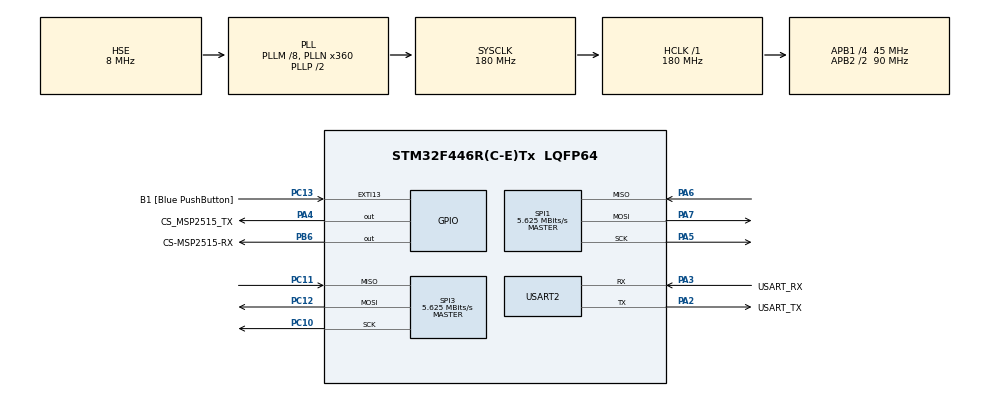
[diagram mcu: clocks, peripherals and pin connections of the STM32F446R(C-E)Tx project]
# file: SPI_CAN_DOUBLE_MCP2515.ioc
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Mcu.Family=STM32F4
Mcu.Name=STM32F446R(C-E)Tx
Mcu.Package=LQFP64
NVIC.PriorityGroup=NVIC_PRIORITYGROUP_0
PA13.GPIO_Label=TMS
PA13.Mode=Serial_Wire
PA13.Signal=SYS_JTMS-SWDIO
PA14.GPIO_Label=TCK
PA14.Mode=Serial_Wire
PA14.Signal=SYS_JTCK-SWCLK
PA2.GPIO_Label=USART_TX
PA2.Mode=Asynchronous
PA2.Signal=USART2_TX
PA3.GPIO_Label=USART_RX
PA3.Mode=Asynchronous
PA3.Signal=USART2_RX
PA4.GPIO_Label=CS_MSP2515_TX
PA4.PinState=GPIO_PIN_SET
PA4.Signal=GPIO_Output
PA5.Mode=Full_Duplex_Master
PA5.Signal=SPI1_SCK
PA6.Mode=Full_Duplex_Master
PA6.Signal=SPI1_MISO
PA7.Mode=Full_Duplex_Master
PA7.Signal=SPI1_MOSI
PB6.GPIO_Label=CS-MSP2515-RX
PB6.PinState=GPIO_PIN_SET
PB6.Signal=GPIO_Output
PC10.Mode=Full_Duplex_Master
PC10.Signal=SPI3_SCK
PC11.Mode=Full_Duplex_Master
PC11.Signal=SPI3_MISO
PC12.Mode=Full_Duplex_Master
PC12.Signal=SPI3_MOSI
PC13.GPIO_Label=B1 [Blue PushButton]
PC13.GPIO_ModeDefaultEXTI=GPIO_MODE_IT_FALLING
PC13.Signal=GPXTI13
PC14-OSC32_IN.Mode=LSE-External-Oscillator
PC14-OSC32_IN.Signal=RCC_OSC32_IN
PC15-OSC32_OUT.Mode=LSE-External-Oscillator
PC15-OSC32_OUT.Signal=RCC_OSC32_OUT
PH0-OSC_IN.Mode=HSE-External-Oscillator
PH0-OSC_IN.Signal=RCC_OSC_IN
PH1-OSC_OUT.Mode=HSE-External-Oscillator
PH1-OSC_OUT.Signal=RCC_OSC_OUT
ProjectManager.HeapSize=0x200
ProjectManager.StackSize=0x400
ProjectManager.TargetToolchain=STM32CubeIDE
RCC.48MHZClocksFreq_Value=84000000
RCC.AHBFreq_Value=180000000
RCC.APB1CLKDivider=RCC_HCLK_DIV4
RCC.APB1Freq_Value=45000000
RCC.APB1TimFreq_Value=90000000
RCC.APB2CLKDivider=RCC_HCLK_DIV2
RCC.APB2Freq_Value=90000000
RCC.APB2TimFreq_Value=180000000
RCC.CortexFreq_Value=180000000
RCC.FLatency-AdvancedSettings=FLASH_LATENCY_5
RCC.HCLKFreq_Value=180000000
RCC.HSE_VALUE=8000000
RCC.HSI_VALUE=16000000
RCC.PLLM=8
RCC.PLLN=360
RCC.PLLSourceVirtual=RCC_PLLSOURCE_HSE
RCC.SYSCLKFreq_VALUE=180000000
RCC.SYSCLKSource=RCC_SYSCLKSOURCE_PLLCLK
RCC.USBFreq_Value=180000000
RCC.VCOOutputFreq_Value=360000000
SPI1.BaudRatePrescaler=SPI_BAUDRATEPRESCALER_16
SPI1.CalculateBaudRate=5.625 MBits/s
SPI1.Direction=SPI_DIRECTION_2LINES
SPI1.Mode=SPI_MODE_MASTER
SPI1.VirtualType=VM_MASTER
SPI3.BaudRatePrescaler=SPI_BAUDRATEPRESCALER_8
SPI3.CalculateBaudRate=5.625 MBits/s
SPI3.Direction=SPI_DIRECTION_2LINES
SPI3.Mode=SPI_MODE_MASTER
SPI3.VirtualType=VM_MASTER
USART2.VirtualMode=VM_ASYNC
board=NUCLEO-F446RE

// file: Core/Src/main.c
/* USER CODE BEGIN Header */
/**
  ******************************************************************************
  * @file           : main.c
  * @brief          : Main program body
  ******************************************************************************
  * @attention
  *
  * Copyright (c) 2025 STMicroelectronics.
  * All rights reserved.
  *
  * This software is licensed under terms that can be found in the LICENSE file
  * in the root directory of this software component.
  * If no LICENSE file comes with this software, it is provided AS-IS.
  *
  ******************************************************************************
  */
/* USER CODE END Header */

#include "main.h"
#include <stdio.h>
#include <string.h>

/* USER CODE BEGIN PTD */
// CAN Message Structure
typedef struct {
    uint32_t id;        // Standard ID (11-bit)
    uint8_t dlc;        // Data Length Code (0-8)
    uint8_t data[8];    // Data bytes
} CAN_Message;

// MCP2515 Handle Structure
typedef struct {
    SPI_HandleTypeDef *hspi;    // SPI handle
    GPIO_TypeDef *cs_port;      // CS GPIO Port
    uint16_t cs_pin;            // CS GPIO Pin
} MCP2515_Handle;
/* USER CODE END PTD */

/* USER CODE BEGIN PD */
// MCP2515 SPI Commands
#define MCP2515_RESET       0xC0
#define MCP2515_READ        0x03
#define MCP2515_WRITE       0x02
#define MCP2515_RTS_TX0     0x81
#define MCP2515_READ_STATUS 0xA0
#define MCP2515_RX_STATUS   0xB0
#define MCP2515_BIT_MODIFY  0x05

// MCP2515 Registers
#define MCP2515_RXF0SIDH    0x00
#define MCP2515_RXF0SIDL    0x01
#define MCP2515_BFPCTRL     0x0C
#define MCP2515_TXRTSCTRL   0x0D
#define MCP2515_CANSTAT     0x0E
#define MCP2515_CANCTRL     0x0F
#define MCP2515_CNF3        0x28
#define MCP2515_CNF2        0x29
#define MCP2515_CNF1        0x2A
#define MCP2515_CANINTE     0x2B
#define MCP2515_CANINTF     0x2C
#define MCP2515_TXB0CTRL    0x30
#define MCP2515_TXB0SIDH    0x31
#define MCP2515_TXB0SIDL    0x32
#define MCP2515_TXB0DLC     0x35
#define MCP2515_TXB0D0      0x36
#define MCP2515_RXB0CTRL    0x60
#define MCP2515_RXB0SIDH    0x61
#define MCP2515_RXB0SIDL    0x62
#define MCP2515_RXB0DLC     0x65
#define MCP2515_RXB0D0      0x66

// MCP2515 Configuration
#define MCP2515_MODE_NORMAL     0x00
#define MCP2515_MODE_CONFIG     0x80
#define MCP2515_INT_RX0IF       0x01
#define MCP2515_INT_TX0IF       0x04
/* USER CODE END PD */

SPI_HandleTypeDef hspi1;
SPI_HandleTypeDef hspi3;
UART_HandleTypeDef huart2;

/* USER CODE BEGIN PV */
// MCP2515 Handles
MCP2515_Handle hcan_tx = {
    .hspi = &hspi3,
    .cs_port = GPIOA,
    .cs_pin = CS_MSP2515_TX_Pin // Note: Typo in IOC (MSP vs MCP)
};

MCP2515_Handle hcan_rx = {
    .hspi = &hspi1,
    .cs_port = GPIOB,
    .cs_pin = CS_MSP2515_RX_Pin
};
/* USER CODE END PV */

void SystemClock_Config(void);
static void MX_GPIO_Init(void);
static void MX_USART2_UART_Init(void);
static void MX_SPI1_Init(void);
static void MX_SPI3_Init(void);
/* USER CODE BEGIN PFP */
void MCP2515_Select(MCP2515_Handle *hcan);
void MCP2515_Deselect(MCP2515_Handle *hcan);
void MCP2515_WriteReg(MCP2515_Handle *hcan, uint8_t reg, uint8_t value);
uint8_t MCP2515_ReadReg(MCP2515_Handle *hcan, uint8_t reg);
void MCP2515_Reset(MCP2515_Handle *hcan);
void MCP2515_SetMode(MCP2515_Handle *hcan, uint8_t mode);
void MCP2515_Init(MCP2515_Handle *hcan, uint32_t bitrate);
void MCP2515_Transmit(MCP2515_Handle *hcan, CAN_Message *msg);
uint8_t MCP2515_Receive(MCP2515_Handle *hcan, CAN_Message *msg);
void UART_Print(const char *str);
/* USER CODE END PFP */

/* USER CODE BEGIN 0 */
/* MCP2515 Driver Functions */
void MCP2515_Select(MCP2515_Handle *hcan) {
    HAL_GPIO_WritePin(hcan->cs_port, hcan->cs_pin, GPIO_PIN_RESET);
}

void MCP2515_Deselect(MCP2515_Handle *hcan) {
    HAL_GPIO_WritePin(hcan->cs_port, hcan->cs_pin, GPIO_PIN_SET);
}

void MCP2515_WriteReg(MCP2515_Handle *hcan, uint8_t reg, uint8_t value) {
    uint8_t tx_buf[3] = {MCP2515_WRITE, reg, value};
    MCP2515_Select(hcan);
    HAL_SPI_Transmit(hcan->hspi, tx_buf, 3, HAL_MAX_DELAY);
    MCP2515_Deselect(hcan);
}

uint8_t MCP2515_ReadReg(MCP2515_Handle *hcan, uint8_t reg) {
    uint8_t tx_buf[2] = {MCP2515_READ, reg};
    uint8_t rx_buf = 0;
    MCP2515_Select(hcan);
    HAL_SPI_Transmit(hcan->hspi, tx_buf, 2, HAL_MAX_DELAY);
    HAL_SPI_Receive(hcan->hspi, &rx_buf, 1, HAL_MAX_DELAY);
    MCP2515_Deselect(hcan);
    return rx_buf;
}

void MCP2515_Reset(MCP2515_Handle *hcan) {
    uint8_t tx_buf = MCP2515_RESET;
    MCP2515_Select(hcan);
    HAL_SPI_Transmit(hcan->hspi, &tx_buf, 1, HAL_MAX_DELAY);
    MCP2515_Deselect(hcan);
    HAL_Delay(10);
}

void MCP2515_SetMode(MCP2515_Handle *hcan, uint8_t mode) {
    MCP2515_WriteReg(hcan, MCP2515_CANCTRL, mode);
    HAL_Delay(1);
    while ((MCP2515_ReadReg(hcan, MCP2515_CANSTAT) & 0xE0) != mode) {
        HAL_Delay(1);
    }
}

void MCP2515_Init(MCP2515_Handle *hcan, uint32_t bitrate) {
    MCP2515_Reset(hcan);
    MCP2515_SetMode(hcan, MCP2515_MODE_CONFIG);
    // 500 kbps @ 16 MHz MCP2515 clock
    if (bitrate == 500000) {
        MCP2515_WriteReg(hcan, MCP2515_CNF1, 0x01); // SJW=1, BRP=1
        MCP2515_WriteReg(hcan, MCP2515_CNF2, 0xB1); // BTLMODE=1, PHSEG1=6, PRSEG=1
        MCP2515_WriteReg(hcan, MCP2515_CNF3, 0x05); // PHSEG2=6
    }
    MCP2515_WriteReg(hcan, MCP2515_RXB0CTRL, 0x60); // Receive all
    MCP2515_WriteReg(hcan, MCP2515_RXB0SIDH, 0x00); // Filter ID 0
    MCP2515_WriteReg(hcan, MCP2515_RXB0SIDL, 0x00);
    MCP2515_WriteReg(hcan, MCP2515_CANINTE, 0x00); // No interrupts
    MCP2515_SetMode(hcan, MCP2515_MODE_NORMAL);
}

void MCP2515_Transmit(MCP2515_Handle *hcan, CAN_Message *msg) {
    MCP2515_WriteReg(hcan, MCP2515_TXB0SIDH, (msg->id >> 3));
    MCP2515_WriteReg(hcan, MCP2515_TXB0SIDL, ((msg->id & 0x07) << 5));
    MCP2515_WriteReg(hcan, MCP2515_TXB0DLC, msg->dlc & 0x0F);
    for (uint8_t i = 0; i < msg->dlc; i++) {
        MCP2515_WriteReg(hcan, MCP2515_TXB0D0 + i, msg->data[i]);
    }
    MCP2515_WriteReg(hcan, MCP2515_TXB0CTRL, 0x08); // Set TXREQ
}

uint8_t MCP2515_Receive(MCP2515_Handle *hcan, CAN_Message *msg) {
    uint8_t status = MCP2515_ReadReg(hcan, MCP2515_CANINTF);
    if (!(status & MCP2515_INT_RX0IF)) {
        return 0; // No message
    }
    msg->id = (MCP2515_ReadReg(hcan, MCP2515_RXB0SIDH) << 3) |
              (MCP2515_ReadReg(hcan, MCP2515_RXB0SIDL) >> 5);
    msg->dlc = MCP2515_ReadReg(hcan, MCP2515_RXB0DLC) & 0x0F;
    for (uint8_t i = 0; i < msg->dlc; i++) {
        msg->data[i] = MCP2515_ReadReg(hcan, MCP2515_RXB0D0 + i);
    }
    MCP2515_WriteReg(hcan, MCP2515_CANINTF, status & ~MCP2515_INT_RX0IF);
    return 1; // Message received
}

void UART_Print(const char *str) {
    HAL_UART_Transmit(&huart2, (uint8_t *)str, strlen(str), HAL_MAX_DELAY);
}
/* USER CODE END 0 */

int main(void)
{

  /* MCU Configuration--------------------------------------------------------*/
  HAL_Init();
  SystemClock_Config();
  MX_GPIO_Init();
  MX_USART2_UART_Init();
  MX_SPI1_Init();
  MX_SPI3_Init();
  /* USER CODE BEGIN 2 */
  // Initialize MCP2515 modules
  UART_Print("Initializing MCP2515 Transmitter (SPI3)...\r\n");
  MCP2515_Init(&hcan_tx, 500000);
  UART_Print("Initializing MCP2515 Receiver (SPI1)...\r\n");
  MCP2515_Init(&hcan_rx, 500000);

  // Test message
  CAN_Message tx_msg = {
      .id = 0x123,
      .dlc = 4,
      .data = {0xAA, 0xBB, 0xCC, 0xDD}
  };
  /* USER CODE END 2 */

  /* Infinite loop */
  /* USER CODE BEGIN WHILE */
  char buf[64];
  while (1)
  {
    UART_Print("Sending CAN message...\r\n");
    MCP2515_Transmit(&hcan_tx, &tx_msg);
    HAL_Delay(1000);

    CAN_Message rx_msg = {0};
    if (MCP2515_Receive(&hcan_rx, &rx_msg)) {
        sprintf(buf, "Received CAN ID: 0x%03X, DLC: %d, Data: \r\n", rx_msg.id, rx_msg.dlc);
        UART_Print(buf);
        for (uint8_t i = 0; i < rx_msg.dlc; i++) {
            sprintf(buf, "%02X ", rx_msg.data[i]);
            UART_Print(buf);
        }
        UART_Print("\r\n");
    }
    /* USER CODE END WHILE */
  }
}

void SystemClock_Config(void)
{
  RCC_OscInitTypeDef RCC_OscInitStruct = {0};
  RCC_ClkInitTypeDef RCC_ClkInitStruct = {0};

  /** Configure the main internal regulator output voltage
  */
  __HAL_RCC_PWR_CLK_ENABLE();
  __HAL_PWR_VOLTAGESCALING_CONFIG(PWR_REGULATOR_VOLTAGE_SCALE1);

  /** Initializes the RCC Oscillators according to the specified parameters
  * in the RCC_OscInitTypeDef structure.
  */
  RCC_OscInitStruct.OscillatorType = RCC_OSCILLATORTYPE_HSE;
  RCC_OscInitStruct.HSEState = RCC_HSE_ON;
  RCC_OscInitStruct.PLL.PLLState = RCC_PLL_ON;
  RCC_OscInitStruct.PLL.PLLSource = RCC_PLLSOURCE_HSE;
  RCC_OscInitStruct.PLL.PLLM = 8;
  RCC_OscInitStruct.PLL.PLLN = 360;
  RCC_OscInitStruct.PLL.PLLP = RCC_PLLP_DIV2;
  RCC_OscInitStruct.PLL.PLLQ = 2;
  RCC_OscInitStruct.PLL.PLLR = 2;
  if (HAL_RCC_OscConfig(&RCC_OscInitStruct) != HAL_OK)
  {
    Error_Handler();
  }

  /** Activate the Over-Drive mode
  */
  if (HAL_PWREx_EnableOverDrive() != HAL_OK)
  {
    Error_Handler();
  }

  /** Initializes the CPU, AHB and APB buses clocks
  */
  RCC_ClkInitStruct.ClockType = RCC_CLOCKTYPE_HCLK|RCC_CLOCKTYPE_SYSCLK
                              |RCC_CLOCKTYPE_PCLK1|RCC_CLOCKTYPE_PCLK2;
  RCC_ClkInitStruct.SYSCLKSource = RCC_SYSCLKSOURCE_PLLCLK;
  RCC_ClkInitStruct.AHBCLKDivider = RCC_SYSCLK_DIV1;
  RCC_ClkInitStruct.APB1CLKDivider = RCC_HCLK_DIV4;
  RCC_ClkInitStruct.APB2CLKDivider = RCC_HCLK_DIV2;

  if (HAL_RCC_ClockConfig(&RCC_ClkInitStruct, FLASH_LATENCY_5) != HAL_OK)
  {
    Error_Handler();
  }
}

static void MX_SPI1_Init(void)
{
  hspi1.Instance = SPI1;
  hspi1.Init.Mode = SPI_MODE_MASTER;
  hspi1.Init.Direction = SPI_DIRECTION_2LINES;
  hspi1.Init.DataSize = SPI_DATASIZE_8BIT;
  hspi1.Init.CLKPolarity = SPI_POLARITY_LOW;
  hspi1.Init.CLKPhase = SPI_PHASE_1EDGE;
  hspi1.Init.NSS = SPI_NSS_SOFT;
  hspi1.Init.BaudRatePrescaler = SPI_BAUDRATEPRESCALER_16;
  hspi1.Init.FirstBit = SPI_FIRSTBIT_MSB;
  hspi1.Init.TIMode = SPI_TIMODE_DISABLE;
  hspi1.Init.CRCCalculation = SPI_CRCCALCULATION_DISABLE;
  hspi1.Init.CRCPolynomial = 10;
  if (HAL_SPI_Init(&hspi1) != HAL_OK)
  {
    Error_Handler();
  }
}

static void MX_SPI3_Init(void)
{
  hspi3.Instance = SPI3;
  hspi3.Init.Mode = SPI_MODE_MASTER;
  hspi3.Init.Direction = SPI_DIRECTION_2LINES;
  hspi3.Init.DataSize = SPI_DATASIZE_8BIT;
  hspi3.Init.CLKPolarity = SPI_POLARITY_LOW;
  hspi3.Init.CLKPhase = SPI_PHASE_1EDGE;
  hspi3.Init.NSS = SPI_NSS_SOFT;
  hspi3.Init.BaudRatePrescaler = SPI_BAUDRATEPRESCALER_8;
  hspi3.Init.FirstBit = SPI_FIRSTBIT_MSB;
  hspi3.Init.TIMode = SPI_TIMODE_DISABLE;
  hspi3.Init.CRCCalculation = SPI_CRCCALCULATION_DISABLE;
  hspi3.Init.CRCPolynomial = 10;
  if (HAL_SPI_Init(&hspi3) != HAL_OK)
  {
    Error_Handler();
  }
}

static void MX_USART2_UART_Init(void)
{
  huart2.Instance = USART2;
  huart2.Init.BaudRate = 115200;
  huart2.Init.WordLength = UART_WORDLENGTH_8B;
  huart2.Init.StopBits = UART_STOPBITS_1;
  huart2.Init.Parity = UART_PARITY_NONE;
  huart2.Init.Mode = UART_MODE_TX_RX;
  huart2.Init.HwFlowCtl = UART_HWCONTROL_NONE;
  huart2.Init.OverSampling = UART_OVERSAMPLING_16;
  if (HAL_UART_Init(&huart2) != HAL_OK)
  {
    Error_Handler();
  }
}

static void MX_GPIO_Init(void)
{
  GPIO_InitTypeDef GPIO_InitStruct = {0};
  __HAL_RCC_GPIOC_CLK_ENABLE();
  __HAL_RCC_GPIOH_CLK_ENABLE();
  __HAL_RCC_GPIOA_CLK_ENABLE();
  __HAL_RCC_GPIOB_CLK_ENABLE();
  HAL_GPIO_WritePin(CS_MSP2515_TX_GPIO_Port, CS_MSP2515_TX_Pin, GPIO_PIN_SET);
  HAL_GPIO_WritePin(CS_MSP2515_RX_GPIO_Port, CS_MSP2515_RX_Pin, GPIO_PIN_SET);
  GPIO_InitStruct.Pin = B1_Pin;
  GPIO_InitStruct.Mode = GPIO_MODE_IT_FALLING;
  GPIO_InitStruct.Pull = GPIO_NOPULL;
  HAL_GPIO_Init(B1_GPIO_Port, &GPIO_InitStruct);
  GPIO_InitStruct.Pin = CS_MSP2515_TX_Pin;
  GPIO_InitStruct.Mode = GPIO_MODE_OUTPUT_PP;
  GPIO_InitStruct.Pull = GPIO_NOPULL;
  GPIO_InitStruct.Speed = GPIO_SPEED_FREQ_LOW;
  HAL_GPIO_Init(CS_MSP2515_TX_GPIO_Port, &GPIO_InitStruct);
  GPIO_InitStruct.Pin = CS_MSP2515_RX_Pin;
  GPIO_InitStruct.Mode = GPIO_MODE_OUTPUT_PP;
  GPIO_InitStruct.Pull = GPIO_NOPULL;
  GPIO_InitStruct.Speed = GPIO_SPEED_FREQ_LOW;
  HAL_GPIO_Init(CS_MSP2515_RX_GPIO_Port, &GPIO_InitStruct);
}

void Error_Handler(void)
{
  __disable_irq();
  while (1)
  {
  }
}

/* USER CODE BEGIN 4 */
int _write(int file, char *ptr, int len) {
    HAL_UART_Transmit(&huart2, (uint8_t *)ptr, len, HAL_MAX_DELAY);
    return len;
}
/* USER CODE END 4 */
